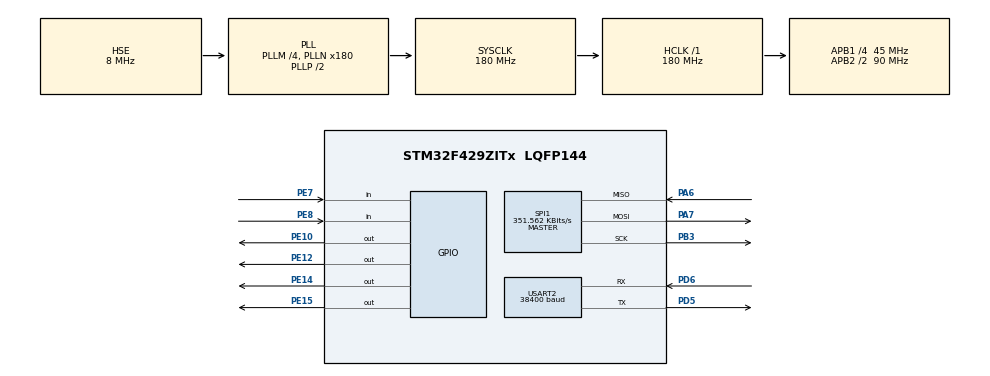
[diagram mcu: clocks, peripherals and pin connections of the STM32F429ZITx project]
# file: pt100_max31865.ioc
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Mcu.Family=STM32F4
Mcu.Name=STM32F429ZITx
Mcu.Package=LQFP144
NVIC.PriorityGroup=NVIC_PRIORITYGROUP_4
NVIC.SPI1_IRQn=true\:0\:0\:false\:false\:true\:true\:true
NVIC.TIM8_TRG_COM_TIM14_IRQn=true\:15\:0\:false\:false\:true\:false\:true
NVIC.TimeBase=TIM8_TRG_COM_TIM14_IRQn
NVIC.TimeBaseIP=TIM14
NVIC.USART2_IRQn=true\:0\:0\:false\:false\:true\:true\:true
PA6.Mode=Full_Duplex_Master
PA6.Signal=SPI1_MISO
PA7.Mode=Full_Duplex_Master
PA7.Signal=SPI1_MOSI
PB3.Mode=Full_Duplex_Master
PB3.Signal=SPI1_SCK
PD5.Mode=Asynchronous
PD5.Signal=USART2_TX
PD6.Mode=Asynchronous
PD6.Signal=USART2_RX
PE10.Signal=GPIO_Output
PE12.Signal=GPIO_Output
PE14.Signal=GPIO_Output
PE15.Signal=GPIO_Output
PE7.Signal=GPIO_Input
PE8.Signal=GPIO_Input
PH0/OSC_IN.Mode=HSE-External-Clock-Source
PH0/OSC_IN.Signal=RCC_OSC_IN
PH1/OSC_OUT.Mode=HSE-External-Clock-Source
PH1/OSC_OUT.Signal=RCC_OSC_OUT
ProjectManager.HeapSize=0x200
ProjectManager.StackSize=0x400
ProjectManager.TargetToolchain=STM32CubeIDE
RCC.48MHZClocksFreq_Value=51428571.428571425
RCC.AHBFreq_Value=180000000
RCC.APB1CLKDivider=RCC_HCLK_DIV4
RCC.APB1Freq_Value=45000000
RCC.APB1TimFreq_Value=90000000
RCC.APB2CLKDivider=RCC_HCLK_DIV2
RCC.APB2Freq_Value=90000000
RCC.APB2TimFreq_Value=180000000
RCC.CortexFreq_Value=180000000
RCC.HCLKFreq_Value=180000000
RCC.HSE_VALUE=8000000
RCC.HSI_VALUE=16000000
RCC.LSE_VALUE=32768
RCC.PLLM=4
RCC.PLLMUL=RCC_PLL_MUL9
RCC.PLLN=180
RCC.PLLQ=7
RCC.PLLSourceVirtual=RCC_PLLSOURCE_HSE
RCC.PRESCALERUSB=RCC_USBCLKSOURCE_PLL_DIV1_5
RCC.SYSCLKFreq_VALUE=180000000
RCC.SYSCLKSource=RCC_SYSCLKSOURCE_PLLCLK
RCC.SYSCLKSourceVirtual=RCC_SYSCLKSOURCE_PLLCLK
RCC.USBFreq_Value=48000000
RCC.VCOOutputFreq_Value=360000000
SPI1.BaudRatePrescaler=SPI_BAUDRATEPRESCALER_256
SPI1.CLKPhase=SPI_PHASE_2EDGE
SPI1.CalculateBaudRate=351.562 KBits/s
SPI1.Direction=SPI_DIRECTION_2LINES
SPI1.Mode=SPI_MODE_MASTER
SPI1.VirtualType=VM_MASTER
USART2.BaudRate=38400
USART2.VirtualMode=VM_ASYNC
VP_SYS_VS_tim14.Mode=TIM14
board=NUCLEO-F429ZI

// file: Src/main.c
/* USER CODE BEGIN Header */
/**
  ******************************************************************************
  * @file           : main.c
  * @brief          : Main program body
  ******************************************************************************
  * @attention
  *
  * <h2><center>&copy; Copyright (c) 2022 STMicroelectronics.
  * All rights reserved.</center></h2>
  *
  * This software component is licensed by ST under Ultimate Liberty license
  * SLA0044, the "License"; You may not use this file except in compliance with
  * the License. You may obtain a copy of the License at:
  *                             www.st.com/SLA0044
  *
  ******************************************************************************
  */
/* USER CODE END Header */
#include "main.h"

/* USER CODE BEGIN Includes */
#include <stdio.h>
#include <string.h>
#include "Max31865.h"
/* USER CODE END Includes */

SPI_HandleTypeDef hspi1;

UART_HandleTypeDef huart2;

/* USER CODE BEGIN PV */

Max31865_t  pt100;
bool        pt100isOK;
float       pt100Temp;

/* USER CODE END PV */

void SystemClock_Config(void);
static void MX_GPIO_Init(void);
static void MX_SPI1_Init(void);
static void MX_USART2_UART_Init(void);

int main(void)
{

  /* MCU Configuration--------------------------------------------------------*/

  /* Reset of all peripherals, Initializes the Flash interface and the Systick. */
  HAL_Init();

  /* Configure the system clock */
  SystemClock_Config();

  /* Initialize all configured peripherals */
  MX_GPIO_Init();
  MX_SPI1_Init();
  MX_USART2_UART_Init();
  /* USER CODE BEGIN 2 */

  Max31865_init(&pt100, &hspi1, GPIOE, GPIO_PIN_10, 3, 50);

  /* USER CODE END 2 */

  /* Infinite loop */
  /* USER CODE BEGIN WHILE */

  float t;
  char str[10];
  int strLen;

  while (1)
  {
	      pt100isOK = Max31865_readTempC(&pt100, &t);
	      pt100Temp = Max31865_Filter(t, pt100Temp, 0.1);   //  << For Smoothing data

	      strLen = sprintf(str, "%.2f\r\n", t);

	      HAL_UART_Transmit(&huart2, str, strLen, 100);

	      HAL_Delay(10);

    /* USER CODE END WHILE */

  }
}

void SystemClock_Config(void)
{
  RCC_OscInitTypeDef RCC_OscInitStruct = {0};
  RCC_ClkInitTypeDef RCC_ClkInitStruct = {0};

  /** Configure the main internal regulator output voltage
  */
  __HAL_RCC_PWR_CLK_ENABLE();
  __HAL_PWR_VOLTAGESCALING_CONFIG(PWR_REGULATOR_VOLTAGE_SCALE1);
  /** Initializes the RCC Oscillators according to the specified parameters
  * in the RCC_OscInitTypeDef structure.
  */
  RCC_OscInitStruct.OscillatorType = RCC_OSCILLATORTYPE_HSE;
  RCC_OscInitStruct.HSEState = RCC_HSE_BYPASS;
  RCC_OscInitStruct.PLL.PLLState = RCC_PLL_ON;
  RCC_OscInitStruct.PLL.PLLSource = RCC_PLLSOURCE_HSE;
  RCC_OscInitStruct.PLL.PLLM = 4;
  RCC_OscInitStruct.PLL.PLLN = 180;
  RCC_OscInitStruct.PLL.PLLP = RCC_PLLP_DIV2;
  RCC_OscInitStruct.PLL.PLLQ = 7;
  if (HAL_RCC_OscConfig(&RCC_OscInitStruct) != HAL_OK)
  {
    Error_Handler();
  }
  /** Activate the Over-Drive mode
  */
  if (HAL_PWREx_EnableOverDrive() != HAL_OK)
  {
    Error_Handler();
  }
  /** Initializes the CPU, AHB and APB buses clocks
  */
  RCC_ClkInitStruct.ClockType = RCC_CLOCKTYPE_HCLK|RCC_CLOCKTYPE_SYSCLK
                              |RCC_CLOCKTYPE_PCLK1|RCC_CLOCKTYPE_PCLK2;
  RCC_ClkInitStruct.SYSCLKSource = RCC_SYSCLKSOURCE_PLLCLK;
  RCC_ClkInitStruct.AHBCLKDivider = RCC_SYSCLK_DIV1;
  RCC_ClkInitStruct.APB1CLKDivider = RCC_HCLK_DIV4;
  RCC_ClkInitStruct.APB2CLKDivider = RCC_HCLK_DIV2;

  if (HAL_RCC_ClockConfig(&RCC_ClkInitStruct, FLASH_LATENCY_5) != HAL_OK)
  {
    Error_Handler();
  }
}

static void MX_SPI1_Init(void)
{

  /* SPI1 parameter configuration*/
  hspi1.Instance = SPI1;
  hspi1.Init.Mode = SPI_MODE_MASTER;
  hspi1.Init.Direction = SPI_DIRECTION_2LINES;
  hspi1.Init.DataSize = SPI_DATASIZE_8BIT;
  hspi1.Init.CLKPolarity = SPI_POLARITY_LOW;
  hspi1.Init.CLKPhase = SPI_PHASE_2EDGE;
  hspi1.Init.NSS = SPI_NSS_SOFT;
  hspi1.Init.BaudRatePrescaler = SPI_BAUDRATEPRESCALER_256;
  hspi1.Init.FirstBit = SPI_FIRSTBIT_MSB;
  hspi1.Init.TIMode = SPI_TIMODE_DISABLE;
  hspi1.Init.CRCCalculation = SPI_CRCCALCULATION_DISABLE;
  hspi1.Init.CRCPolynomial = 10;
  if (HAL_SPI_Init(&hspi1) != HAL_OK)
  {
    Error_Handler();
  }

}

static void MX_USART2_UART_Init(void)
{

  huart2.Instance = USART2;
  huart2.Init.BaudRate = 38400;
  huart2.Init.WordLength = UART_WORDLENGTH_8B;
  huart2.Init.StopBits = UART_STOPBITS_1;
  huart2.Init.Parity = UART_PARITY_NONE;
  huart2.Init.Mode = UART_MODE_TX_RX;
  huart2.Init.HwFlowCtl = UART_HWCONTROL_NONE;
  huart2.Init.OverSampling = UART_OVERSAMPLING_16;
  if (HAL_UART_Init(&huart2) != HAL_OK)
  {
    Error_Handler();
  }

}

static void MX_GPIO_Init(void)
{
  GPIO_InitTypeDef GPIO_InitStruct = {0};

  /* GPIO Ports Clock Enable */
  __HAL_RCC_GPIOH_CLK_ENABLE();
  __HAL_RCC_GPIOA_CLK_ENABLE();
  __HAL_RCC_GPIOE_CLK_ENABLE();
  __HAL_RCC_GPIOD_CLK_ENABLE();
  __HAL_RCC_GPIOB_CLK_ENABLE();

  /*Configure GPIO pin Output Level */
  HAL_GPIO_WritePin(GPIOE, GPIO_PIN_10|GPIO_PIN_12|GPIO_PIN_14|GPIO_PIN_15, GPIO_PIN_RESET);

  /*Configure GPIO pins : PE7 PE8 */
  GPIO_InitStruct.Pin = GPIO_PIN_7|GPIO_PIN_8;
  GPIO_InitStruct.Mode = GPIO_MODE_INPUT;
  GPIO_InitStruct.Pull = GPIO_NOPULL;
  HAL_GPIO_Init(GPIOE, &GPIO_InitStruct);

  /*Configure GPIO pins : PE10 PE12 PE14 PE15 */
  GPIO_InitStruct.Pin = GPIO_PIN_10|GPIO_PIN_12|GPIO_PIN_14|GPIO_PIN_15;
  GPIO_InitStruct.Mode = GPIO_MODE_OUTPUT_PP;
  GPIO_InitStruct.Pull = GPIO_NOPULL;
  GPIO_InitStruct.Speed = GPIO_SPEED_FREQ_LOW;
  HAL_GPIO_Init(GPIOE, &GPIO_InitStruct);

}

void HAL_TIM_PeriodElapsedCallback(TIM_HandleTypeDef *htim)
{
  if (htim->Instance == TIM14) {
    HAL_IncTick();
  }
}

void Error_Handler(void)
{
  __disable_irq();
  while (1)
  {
  }
}

/************************ (C) COPYRIGHT STMicroelectronics *****END OF FILE****/
